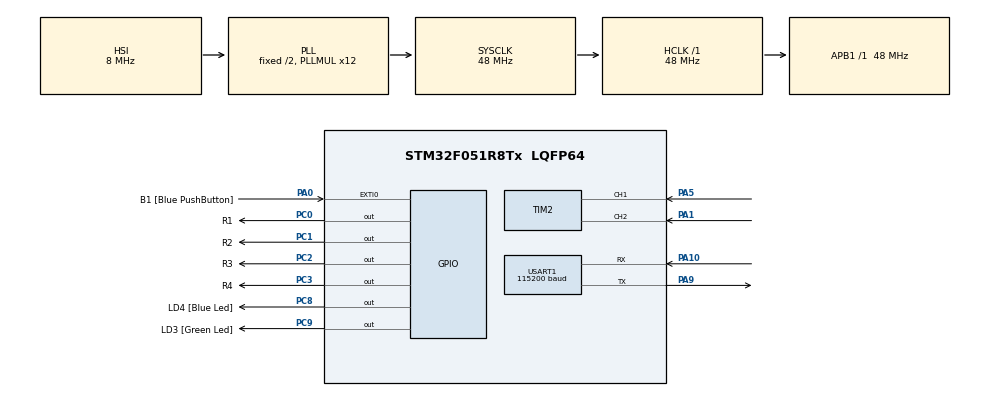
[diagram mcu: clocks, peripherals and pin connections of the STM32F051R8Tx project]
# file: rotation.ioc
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Mcu.Family=STM32F0
Mcu.Name=STM32F051R8Tx
Mcu.Package=LQFP64
NVIC.USART1_IRQn=true\:0\:0\:false\:false\:true\:true\:true
PA0.GPIO_Label=B1 [Blue PushButton]
PA0.GPIO_ModeDefaultEXTI=GPIO_MODE_EVT_RISING
PA0.Signal=GPXTI0
PA1.Signal=S_TIM2_CH2
PA10.Mode=Asynchronous
PA10.Signal=USART1_RX
PA13.GPIO_Label=SWDIO
PA13.Mode=Serial_Wire
PA13.Signal=SYS_SWDIO
PA14.GPIO_Label=SWCLK
PA14.Mode=Serial_Wire
PA14.Signal=SYS_SWCLK
PA5.Signal=S_TIM2_CH1_ETR
PA9.Mode=Asynchronous
PA9.Signal=USART1_TX
PC0.GPIO_Label=R1
PC0.Signal=GPIO_Output
PC1.GPIO_Label=R2
PC1.Signal=GPIO_Output
PC2.GPIO_Label=R3
PC2.Signal=GPIO_Output
PC3.GPIO_Label=R4
PC3.Signal=GPIO_Output
PC8.GPIO_Label=LD4 [Blue Led]
PC8.Signal=GPIO_Output
PC9.GPIO_Label=LD3 [Green Led]
PC9.Signal=GPIO_Output
ProjectManager.HeapSize=0x200
ProjectManager.StackSize=0x400
ProjectManager.TargetToolchain=MDK-ARM V5
RCC.AHBFreq_Value=48000000
RCC.APB1Freq_Value=48000000
RCC.APB1TimFreq_Value=48000000
RCC.HCLKFreq_Value=48000000
RCC.PLLMUL=RCC_PLL_MUL12
RCC.SYSCLKFreq_VALUE=48000000
RCC.SYSCLKSource=RCC_SYSCLKSOURCE_PLLCLK
SH.S_TIM2_CH1_ETR.0=TIM2_CH1,Encoder_Interface
SH.S_TIM2_CH2.0=TIM2_CH2,Encoder_Interface
USART1.BaudRate=115200
USART1.VirtualMode-Asynchronous=VM_ASYNC
board=STM32F0DISCOVERY

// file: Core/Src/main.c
/* USER CODE BEGIN Header */
/**
  ******************************************************************************
  * @file           : main.c
  * @brief          : Main program body
  ******************************************************************************
  * @attention
  *
  * <h2><center>&copy; Copyright (c) 2020 STMicroelectronics.
  * All rights reserved.</center></h2>
  *
  * This software component is licensed by ST under BSD 3-Clause license,
  * the "License"; You may not use this file except in compliance with the
  * License. You may obtain a copy of the License at:
  *                        opensource.org/licenses/BSD-3-Clause
  *
  ******************************************************************************
  */
/* USER CODE END Header */
#include "main.h"

TIM_HandleTypeDef htim2;

UART_HandleTypeDef huart1;

/* USER CODE BEGIN PV */
uint8_t encCounter;
/* USER CODE END PV */

void SystemClock_Config(void);
static void MX_GPIO_Init(void);
static void MX_USART1_UART_Init(void);
static void MX_TIM2_Init(void);

int main(void)
{
  /* USER CODE BEGIN 1 */
char str[10]="10";
uint16_t encCounter=0;

  /* USER CODE END 1 */

  /* MCU Configuration--------------------------------------------------------*/

  /* Reset of all peripherals, Initializes the Flash interface and the Systick. */
  HAL_Init();

  /* Configure the system clock */
  SystemClock_Config();

  /* Initialize all configured peripherals */
  MX_GPIO_Init();
  MX_USART1_UART_Init();
  MX_TIM2_Init();
	HAL_TIM_Encoder_Start(&htim2,TIM_CHANNEL_1);

  /* Infinite loop */
  while (1)
  {

    /* USER CODE BEGIN 3 */
		encCounter=TIM2->CNT;
		str[0]='0';
		while(str[0]=='0'){
		HAL_UART_Receive_IT(&huart1, (uint8_t*)str,1);
		}
		if(str[0] == '2'){
			HAL_GPIO_WritePin(R1_GPIO_Port,R1_Pin,GPIO_PIN_SET);
			HAL_GPIO_WritePin(R3_GPIO_Port,R3_Pin,GPIO_PIN_SET);
		}
		if(str[0] == '6'){
			HAL_GPIO_WritePin(R1_GPIO_Port,R1_Pin,GPIO_PIN_RESET);
			HAL_GPIO_WritePin(R3_GPIO_Port,R3_Pin,GPIO_PIN_RESET);
		}

		if(str[0] == '4'){
			HAL_GPIO_WritePin(R2_GPIO_Port,R2_Pin,GPIO_PIN_SET);
			HAL_GPIO_WritePin(R4_GPIO_Port,R4_Pin,GPIO_PIN_SET);
		}
		if(str[0] == '8'){
			HAL_GPIO_WritePin(R2_GPIO_Port,R2_Pin,GPIO_PIN_RESET);
			HAL_GPIO_WritePin(R4_GPIO_Port,R4_Pin,GPIO_PIN_RESET);
		}

		if(str[0] == '1'){
			HAL_GPIO_WritePin(R1_GPIO_Port,R1_Pin,GPIO_PIN_SET);
			HAL_GPIO_WritePin(R4_GPIO_Port,R4_Pin,GPIO_PIN_SET);
		}
		if(str[0] == '5'){
			if (HAL_GPIO_ReadPin(R3_GPIO_Port,R3_Pin) == GPIO_PIN_RESET)
			{
				HAL_GPIO_WritePin(R1_GPIO_Port,R1_Pin,GPIO_PIN_RESET);
			}
			if (HAL_GPIO_ReadPin(R2_GPIO_Port,R2_Pin) == GPIO_PIN_RESET)
			{
				HAL_GPIO_WritePin(R4_GPIO_Port,R4_Pin,GPIO_PIN_RESET);
			}
		}

		if(str[0] == '3'){
			HAL_GPIO_WritePin(R2_GPIO_Port,R2_Pin,GPIO_PIN_SET);
			HAL_GPIO_WritePin(R3_GPIO_Port,R3_Pin,GPIO_PIN_SET);
		}

		if(str[0] == '7'){
			if (HAL_GPIO_ReadPin(R4_GPIO_Port,R4_Pin) == GPIO_PIN_RESET)
			{
				HAL_GPIO_WritePin(R2_GPIO_Port,R2_Pin,GPIO_PIN_RESET);
			}

			if (HAL_GPIO_ReadPin(R1_GPIO_Port,R1_Pin) == GPIO_PIN_RESET)
			{
				HAL_GPIO_WritePin(R3_GPIO_Port,R3_Pin,GPIO_PIN_RESET);
		}

		}

  }
  /* USER CODE END 3 */
}

void SystemClock_Config(void)
{
  RCC_OscInitTypeDef RCC_OscInitStruct = {0};
  RCC_ClkInitTypeDef RCC_ClkInitStruct = {0};
  RCC_PeriphCLKInitTypeDef PeriphClkInit = {0};

  /** Initializes the RCC Oscillators according to the specified parameters
  * in the RCC_OscInitTypeDef structure.
  */
  RCC_OscInitStruct.OscillatorType = RCC_OSCILLATORTYPE_HSI;
  RCC_OscInitStruct.HSIState = RCC_HSI_ON;
  RCC_OscInitStruct.HSICalibrationValue = RCC_HSICALIBRATION_DEFAULT;
  RCC_OscInitStruct.PLL.PLLState = RCC_PLL_ON;
  RCC_OscInitStruct.PLL.PLLSource = RCC_PLLSOURCE_HSI;
  RCC_OscInitStruct.PLL.PLLMUL = RCC_PLL_MUL12;
  RCC_OscInitStruct.PLL.PREDIV = RCC_PREDIV_DIV1;
  if (HAL_RCC_OscConfig(&RCC_OscInitStruct) != HAL_OK)
  {
    Error_Handler();
  }
  /** Initializes the CPU, AHB and APB buses clocks
  */
  RCC_ClkInitStruct.ClockType = RCC_CLOCKTYPE_HCLK|RCC_CLOCKTYPE_SYSCLK
                              |RCC_CLOCKTYPE_PCLK1;
  RCC_ClkInitStruct.SYSCLKSource = RCC_SYSCLKSOURCE_PLLCLK;
  RCC_ClkInitStruct.AHBCLKDivider = RCC_SYSCLK_DIV1;
  RCC_ClkInitStruct.APB1CLKDivider = RCC_HCLK_DIV1;

  if (HAL_RCC_ClockConfig(&RCC_ClkInitStruct, FLASH_LATENCY_1) != HAL_OK)
  {
    Error_Handler();
  }
  PeriphClkInit.PeriphClockSelection = RCC_PERIPHCLK_USART1;
  PeriphClkInit.Usart1ClockSelection = RCC_USART1CLKSOURCE_PCLK1;
  if (HAL_RCCEx_PeriphCLKConfig(&PeriphClkInit) != HAL_OK)
  {
    Error_Handler();
  }
}

static void MX_TIM2_Init(void)
{

  TIM_Encoder_InitTypeDef sConfig = {0};
  TIM_MasterConfigTypeDef sMasterConfig = {0};

  htim2.Instance = TIM2;
  htim2.Init.Prescaler = 0;
  htim2.Init.CounterMode = TIM_COUNTERMODE_UP;
  htim2.Init.Period = 4294967295;
  htim2.Init.ClockDivision = TIM_CLOCKDIVISION_DIV1;
  htim2.Init.AutoReloadPreload = TIM_AUTORELOAD_PRELOAD_DISABLE;
  sConfig.EncoderMode = TIM_ENCODERMODE_TI1;
  sConfig.IC1Polarity = TIM_ICPOLARITY_RISING;
  sConfig.IC1Selection = TIM_ICSELECTION_DIRECTTI;
  sConfig.IC1Prescaler = TIM_ICPSC_DIV1;
  sConfig.IC1Filter = 0;
  sConfig.IC2Polarity = TIM_ICPOLARITY_RISING;
  sConfig.IC2Selection = TIM_ICSELECTION_DIRECTTI;
  sConfig.IC2Prescaler = TIM_ICPSC_DIV1;
  sConfig.IC2Filter = 0;
  if (HAL_TIM_Encoder_Init(&htim2, &sConfig) != HAL_OK)
  {
    Error_Handler();
  }
  sMasterConfig.MasterOutputTrigger = TIM_TRGO_RESET;
  sMasterConfig.MasterSlaveMode = TIM_MASTERSLAVEMODE_DISABLE;
  if (HAL_TIMEx_MasterConfigSynchronization(&htim2, &sMasterConfig) != HAL_OK)
  {
    Error_Handler();
  }

}

static void MX_USART1_UART_Init(void)
{

  huart1.Instance = USART1;
  huart1.Init.BaudRate = 115200;
  huart1.Init.WordLength = UART_WORDLENGTH_8B;
  huart1.Init.StopBits = UART_STOPBITS_1;
  huart1.Init.Parity = UART_PARITY_NONE;
  huart1.Init.Mode = UART_MODE_TX_RX;
  huart1.Init.HwFlowCtl = UART_HWCONTROL_NONE;
  huart1.Init.OverSampling = UART_OVERSAMPLING_16;
  huart1.Init.OneBitSampling = UART_ONE_BIT_SAMPLE_DISABLE;
  huart1.AdvancedInit.AdvFeatureInit = UART_ADVFEATURE_NO_INIT;
  if (HAL_UART_Init(&huart1) != HAL_OK)
  {
    Error_Handler();
  }

}

static void MX_GPIO_Init(void)
{
  GPIO_InitTypeDef GPIO_InitStruct = {0};

  /* GPIO Ports Clock Enable */
  __HAL_RCC_GPIOC_CLK_ENABLE();
  __HAL_RCC_GPIOA_CLK_ENABLE();

  /*Configure GPIO pin Output Level */
  HAL_GPIO_WritePin(GPIOC, R1_Pin|R2_Pin|R3_Pin|R4_Pin
                          |LD4_Pin|LD3_Pin, GPIO_PIN_RESET);

  /*Configure GPIO pins : R1_Pin R2_Pin R3_Pin R4_Pin
                           LD4_Pin LD3_Pin */
  GPIO_InitStruct.Pin = R1_Pin|R2_Pin|R3_Pin|R4_Pin
                          |LD4_Pin|LD3_Pin;
  GPIO_InitStruct.Mode = GPIO_MODE_OUTPUT_PP;
  GPIO_InitStruct.Pull = GPIO_NOPULL;
  GPIO_InitStruct.Speed = GPIO_SPEED_FREQ_LOW;
  HAL_GPIO_Init(GPIOC, &GPIO_InitStruct);

  /*Configure GPIO pin : B1_Pin */
  GPIO_InitStruct.Pin = B1_Pin;
  GPIO_InitStruct.Mode = GPIO_MODE_EVT_RISING;
  GPIO_InitStruct.Pull = GPIO_NOPULL;
  HAL_GPIO_Init(B1_GPIO_Port, &GPIO_InitStruct);

}

void Error_Handler(void)
{
}

/************************ (C) COPYRIGHT STMicroelectronics *****END OF FILE****/
